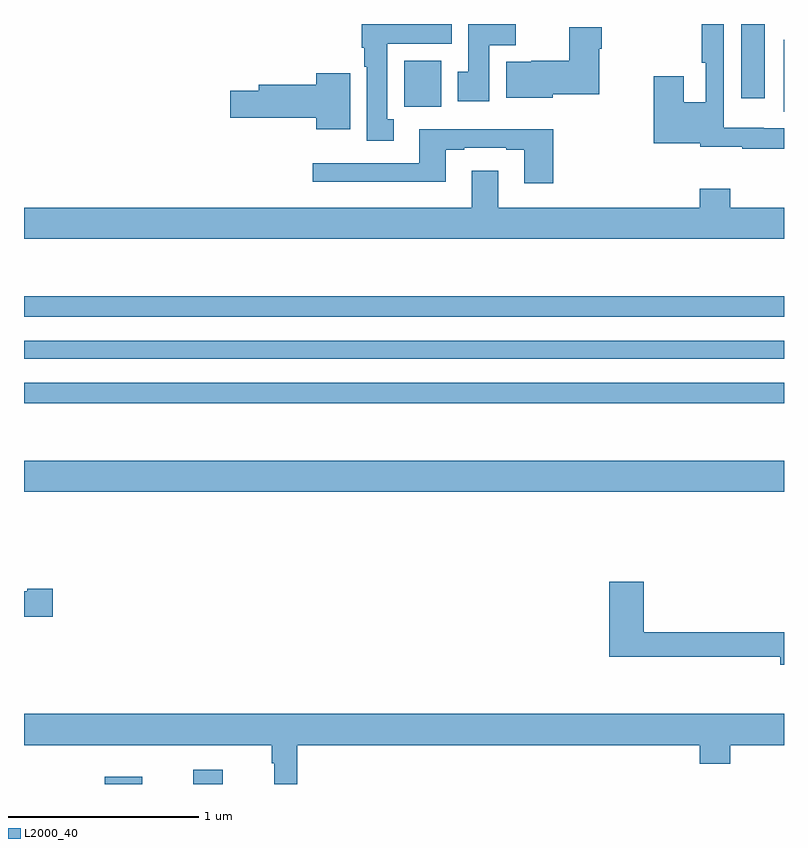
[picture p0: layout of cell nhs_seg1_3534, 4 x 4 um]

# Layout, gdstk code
import gdstk
lib = gdstk.Library(unit=1e-6, precision=1e-09)
def R(c, l, rs):  # rectangles x0, y0, x1, y1
    for r in rs: c.add(gdstk.rectangle(r[:2], r[2:], *l))
def P(c, l, *ps):  # polygons
    for p in ps: c.add(gdstk.Polygon(p, *l))
L2000_40 = (2000, 40)

nhs_seg1_3534 = lib.new_cell('nhs_seg1_3534')
R(nhs_seg1_3534, L2000_40, [(303.424,546.199,303.622,546.238), (303.89,546.199,304.045,546.274), (303,547.736,307,547.9), (303,548.202,307,548.31), (303,548.436,307,548.532), (303,548.658,307,548.767), (306.998,549.736,307,550.117), (305,549.764,305.197,550.006), (306.776,549.807,306.898,550.199)])
P(nhs_seg1_3534, L2000_40, [(307,549.651),(306.894,549.651),(306.894,549.652),(306.684,549.652),(306.684,550.199),(306.568,550.199),(306.568,549.995),(306.588,549.995),(306.588,549.787),(306.472,549.787),(306.472,549.925),(306.314,549.925),(306.314,549.572),(306.558,549.572),(306.558,549.553),(306.781,549.553),(306.781,549.543),(307,549.543)],
  [(304.945,549.698),(304.912,549.698),(304.912,550.094),(305.251,550.094),(305.251,550.199),(304.778,550.199),(304.778,550.074),(304.79,550.074),(304.79,549.974),(304.805,549.974),(304.805,549.585),(304.945,549.585)],
  [(305.449,550.088),(305.588,550.088),(305.588,550.199),(305.339,550.199),(305.339,549.948),(305.282,549.948),(305.282,549.792),(305.449,549.792)],
  [(305.784,549.83),(306.028,549.83),(306.028,550.07),(306.041,550.07),(306.041,550.183),(305.87,550.183),(305.87,550.006),(305.67,550.006),(305.67,550),(305.537,550),(305.537,549.812),(305.784,549.812)],
  [(304.717,549.94),(304.538,549.94),(304.538,549.878),(304.235,549.878),(304.235,549.848),(304.086,549.848),(304.086,549.706),(304.538,549.706),(304.538,549.644),(304.717,549.644)],
  [(305.786,549.646),(305.081,549.646),(305.081,549.465),(304.521,549.465),(304.521,549.368),(305.221,549.368),(305.221,549.537),(305.317,549.537),(305.317,549.549),(305.537,549.549),(305.537,549.537),(305.633,549.537),(305.633,549.36),(305.786,549.36)],
  [(307,549.232),(306.717,549.232),(306.717,549.331),(306.557,549.331),(306.557,549.232),(305.497,549.232),(305.497,549.427),(305.357,549.427),(305.357,549.232),(303,549.232),(303,549.068),(307,549.068)],
  [(307,546.998),(306.263,546.998),(306.263,547.264),(306.08,547.264),(306.08,546.87),(306.98,546.87),(306.98,546.827),(307,546.827)],
  [(303.151,547.226),(303.018,547.226),(303.018,547.213),(303,547.213),(303,547.079),(303.151,547.079)],
  [(304.439,546.404),(306.557,546.404),(306.557,546.305),(306.717,546.305),(306.717,546.404),(307,546.404),(307,546.568),(303,546.568),(303,546.404),(304.303,546.404),(304.303,546.308),(304.318,546.308),(304.318,546.199),(304.439,546.199)])

lib.write_gds('nhs_seg1_3534.gds')
